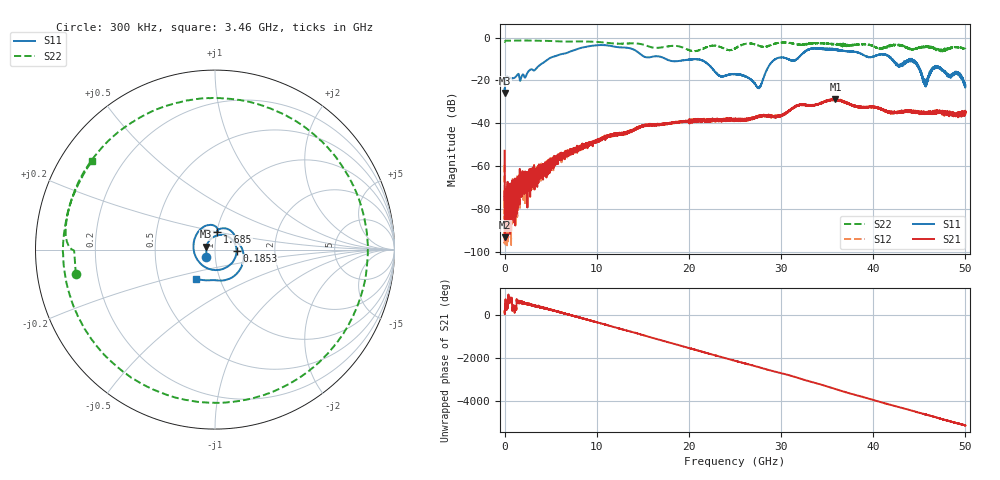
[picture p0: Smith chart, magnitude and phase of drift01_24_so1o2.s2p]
!Created with skrf (http://scikit-rf.org).
# Hz S RI R 50.0
!freq ReS11 ImS11 ReS21 ImS21 ReS12 ImS12 ReS22 ImS22
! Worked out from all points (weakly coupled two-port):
!   10001 points, 300 kHz to 50 GHz, reference 50 ohm
!   highest |S21| = -28.77 dB at 35.91 GHz (marker M1); lowest = -93.1 dB at 35.3 MHz (marker M2)
!   lowest |S11| = -25.8 dB at 5.3 MHz (marker M3), VSWR 1.11, Z = 45.3 + j1.42 ohm
!   |S11| at or under -10 dB: start of sweep to 4.766 GHz; 17.5 GHz to 29.4 GHz (11.91 GHz wide, 50.8 % of centre); 44.19 GHz to end of sweep (the widest 3 of 12)
!   |S22| runs from -6.5 to -1.4 dB; largest |S21 - S12| = 0.0042
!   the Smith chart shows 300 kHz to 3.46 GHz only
!   S11 on the Smith chart (normalised r, x): 300 kHz: 0.91, -0.08; 185.3 MHz: 1.27, -0.02; 1.685 GHz: 1.01, +0.20; 3.46 GHz: 0.77, -0.26
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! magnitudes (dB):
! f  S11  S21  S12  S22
! 300 kHz  -24.0  -52.8  -59.5  -2.1
! 5.3 MHz  -25.8  -74.3  -96.0  -2.1
! 35.3 MHz  -22.2  -93.1  -73.9  -1.7
! 185.3 MHz  -18.4  -86.2  -82.4  -1.4
! 275.3 MHz  -18.4  -78.7  -73.6  -1.4
! 1.685 GHz  -20.2  -64.4  -71.9  -1.4
! 3.46 GHz  -14.3  -65.4  -65.3  -1.5
! 8.335 GHz  -4.8  -50.8  -51.2  -1.8
! 16.67 GHz  -8.8  -40.8  -40.9  -4.8
! 25 GHz  -17.1  -37.9  -38.2  -5.1
! 27.58 GHz  -23.5  -36.5  -36.8  -3.8
! 29.28 GHz  -10.4  -36.9  -36.9  -2.8
! 31.45 GHz  -10.8  -32.5  -32.4  -3.0
! 33.34 GHz  -5.2  -31.6  -31.6  -2.7
! 35.91 GHz  -5.5  -28.8  -29.1  -3.0
! 41.67 GHz  -8.9  -34.3  -34.9  -4.3
! 42.74 GHz  -12.9  -34.9  -34.6  -3.4
! 44.4 GHz  -10.8  -34.5  -35.0  -5.3
! 45.63 GHz  -21.3  -35.2  -34.9  -4.4
! 46.93 GHz  -13.8  -34.9  -34.9  -5.4
! 49.21 GHz  -16.3  -36.1  -35.9  -4.5
! 50 GHz  -22.2  -34.6  -34.7  -5.4
